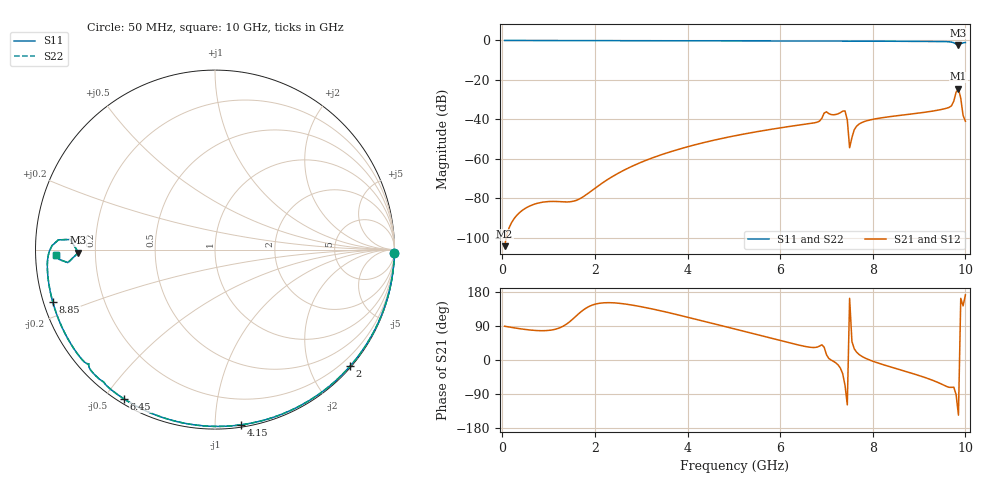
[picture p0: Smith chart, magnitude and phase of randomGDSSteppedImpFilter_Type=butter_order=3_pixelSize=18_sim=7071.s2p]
! freq	dB(S11)	phase(S11)	dB(S12)	phase(S12)
!  dB(S21)	phase(S21)	dB(S22)	phase(S22)
!S-par simulation data
#  GHz  S  DB  R 50
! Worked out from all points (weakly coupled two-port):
!   200 points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, 50 MHz to 10 GHz, reference 50 ohm
!   highest |S21| = -24.49 dB at 9.85 GHz (marker M1); lowest = -104.3 dB at 50 MHz (marker M2)
!   lowest |S11| = -2.4 dB at 9.85 GHz (marker M3), VSWR 7.42, Z = 6.74 - j0.565 ohm
!   |S11| at or under -10 dB: nowhere
!   |S22| runs from -2.4 to 0.0 dB; largest |S21 - S12| = 0
!   S11 on the Smith chart (normalised r, x): 50 MHz: open; 2 GHz: 0.02, -2.69; 4.15 GHz: 0.02, -1.16; 6.45 GHz: 0.02, -0.56; 8.85 GHz: 0.03, -0.16; 10 GHz: 0.06, -0.02
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0.05  -0.00 -1.1  -104.28 89.1  -104.28 89.1  -0.00 -1.1
1.75  -0.05 -35.9  -79.18 132.1  -79.18 132.1  -0.05 -35.9
2  -0.05 -40.8  -74.94 147.1  -74.94 147.1  -0.05 -40.8
3.4  -0.09 -67.8  -58.20 130.4  -58.20 130.4  -0.09 -67.8
4.15  -0.11 -81.6  -52.95 108.4  -52.95 108.4  -0.11 -81.6
5.05  -0.15 -97.5  -48.19 80.9  -48.19 80.9  -0.15 -97.5
6.45  -0.23 -121.4  -42.75 38.0  -42.75 38.0  -0.23 -121.4
6.7  -0.25 -125.7  -41.92 33.0  -41.92 33.0  -0.25 -125.7
6.85  -0.27 -128.3  -40.87 36.7  -40.87 36.7  -0.27 -128.3
7  -0.31 -130.5  -36.18 14.1  -36.18 14.1  -0.31 -130.5
7.4  -0.42 -137.7  -35.69 -66.3  -35.69 -66.3  -0.42 -137.7
7.45  -0.46 -137.8  -40.36 -118.3  -40.36 -118.3  -0.46 -137.8
7.5  -0.39 -138.3  -54.39 162.8  -54.39 162.8  -0.39 -138.3
7.6  -0.34 -140.2  -45.26 29.6  -45.26 29.6  -0.34 -140.2
7.7  -0.34 -142.0  -42.46 15.0  -42.46 15.0  -0.34 -142.0
8.35  -0.39 -153.2  -38.68 -17.0  -38.68 -17.0  -0.39 -153.2
8.85  -0.45 -162.0  -37.23 -35.3  -37.23 -35.3  -0.45 -162.0
9.65  -0.69 -179.4  -33.92 -72.1  -33.92 -72.1  -0.69 -179.4
9.85  -2.36 -178.7  -24.49 -145.5  -24.49 -145.5  -2.37 -178.8
9.9  -1.69 -175.0  -29.32 162.7  -29.32 162.7  -1.71 -174.9
9.95  -1.20 -176.4  -37.95 142.8  -37.95 142.8  -1.21 -176.3
10  -1.06 -178.2  -40.97 171.8  -40.97 171.8  -1.06 -178.1
